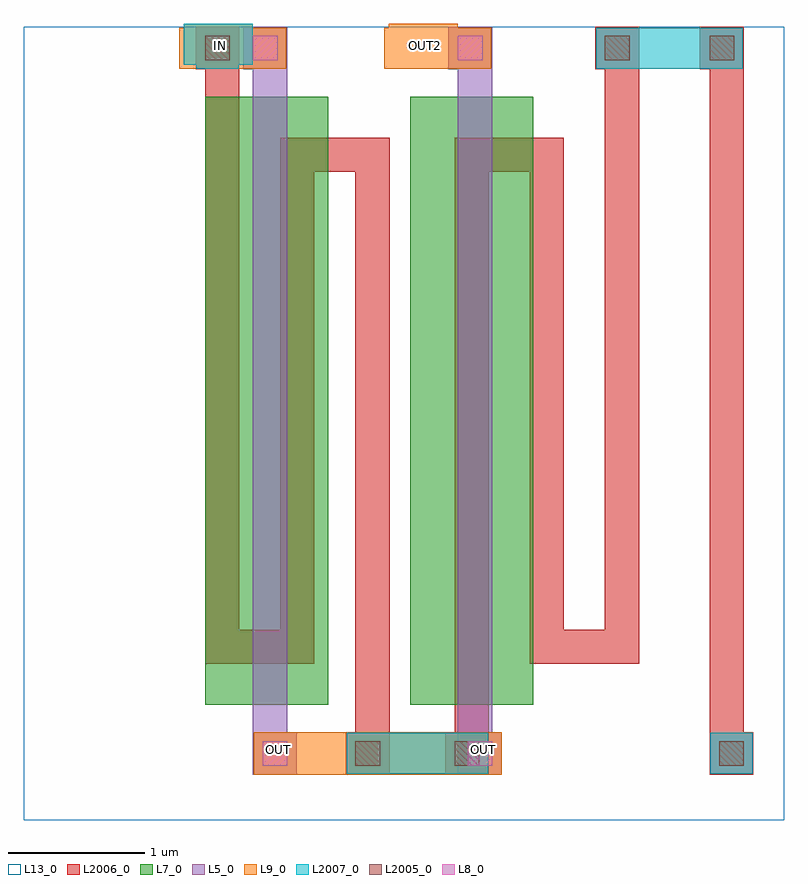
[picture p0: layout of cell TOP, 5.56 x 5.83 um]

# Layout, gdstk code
from math import pi, radians
import gdstk
lib = gdstk.Library(unit=1e-6, precision=1e-09)
def R(c, l, rs):  # rectangles x0, y0, x1, y1
    for r in rs: c.add(gdstk.rectangle(r[:2], r[2:], *l))
def P(c, l, *ps):  # polygons
    for p in ps: c.add(gdstk.Polygon(p, *l))
L5_0 = (5, 0)
L7_0 = (7, 0)
L8_0 = (8, 0)
L9_0 = (9, 0)
L13_0 = (13, 0)
L2005_0 = (2005, 0)
L2006_0 = (2006, 0)
L2007_0 = (2007, 0)

res2 = lib.new_cell('RES2')
R(res2, L5_0, [(5.16,0.23,5.47,0.55), (0,0.3,0.31,0.62)])
R(res2, L7_0, [(0.51,0,4.96,0.9)])
R(res2, L8_0, [(5.225,0.3,5.405,0.48), (0.065,0.37,0.245,0.55)])
R(res2, L9_0, [(5.165,0.235,5.465,0.545), (0.005,0.305,0.305,0.615)])
res2.add(gdstk.FlexPath([(0.31,0.425),(5.16,0.425)], 0.25, ends="flush", simple_path=True, layer=5, datatype=0))  # L5_0

net_in_out = lib.new_cell('NET_IN,OUT')
R(net_in_out, L2005_0, [(2.425,0.4,2.605,0.58), (3.15,0.4,3.33,0.58), (5.085,0.4,5.265,0.58), (1.325,5.56,1.505,5.74), (4.25,5.56,4.43,5.74), (5.015,5.56,5.195,5.74)])
R(net_in_out, L2006_0, [(2.355,0.335,2.675,0.645), (3.08,0.335,3.4,0.645), (5.015,0.335,5.335,0.645), (5.015,0.645,5.265,5.495), (1.255,5.495,1.575,5.805), (4.18,5.495,4.5,5.805), (4.945,5.495,5.265,5.805)])
P(net_in_out, L2006_0, [(2.425,0.645),(2.425,4.745),(2.125,4.745),(2.125,1.145),(1.325,1.145),(1.325,5.495),(1.575,5.495),(1.575,1.395),(1.875,1.395),(1.875,4.995),(2.675,4.995),(2.675,0.645)],
  [(3.15,0.645),(3.15,4.995),(3.95,4.995),(3.95,1.395),(4.25,1.395),(4.25,5.495),(4.5,5.495),(4.5,1.145),(3.7,1.145),(3.7,4.745),(3.4,4.745),(3.4,0.645)])
R(net_in_out, L2007_0, [(2.36,0.34,2.67,0.64), (2.62,0.34,3.125,0.64), (3.085,0.34,3.395,0.64), (5.02,0.34,5.33,0.64), (5.204,0.519,5.206,0.521), (1.26,5.5,1.57,5.8), (4.185,5.5,4.495,5.8), (4.475,5.5,4.99,5.8), (4.95,5.5,5.26,5.8), (1.17,5.53,1.675,5.83), (1.439,5.669,1.441,5.671)])

top = lib.new_cell('TOP')
R(top, L9_0, [(1.68,0.335,3.495,0.645), (1.135,5.5,1.65,5.8), (2.635,5.5,3.15,5.8), (1.17,5.53,1.675,5.83), (2.67,5.53,3.175,5.83)])
R(top, L13_0, [(0,0,5.56,5.805)])
top.add(gdstk.Reference(res2, (2.225,5.805), rotation=3*pi/2, x_reflection=True))
top.add(gdstk.Reference(net_in_out, (0,0)))
top.add(gdstk.Reference(res2, (3.725,5.805), rotation=3*pi/2, x_reflection=True))
top.add(gdstk.Label('OUT', (1.865,0.52), layer=9, texttype=0))
top.add(gdstk.Label('IN', (1.44,5.67), layer=9, texttype=0))
top.add(gdstk.Label('OUT', (3.365,0.52), layer=9, texttype=0))
top.add(gdstk.Label('OUT2', (2.94,5.67), layer=9, texttype=0))

lib.write_gds('TOP.gds')
